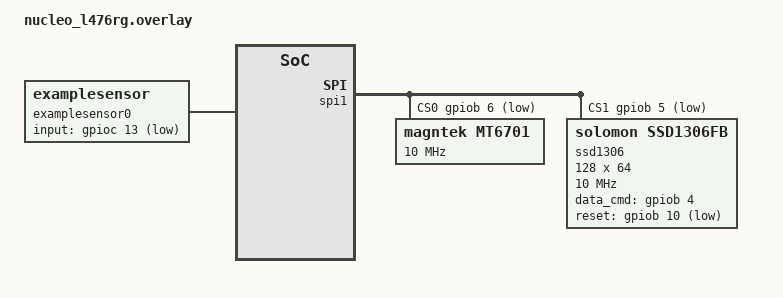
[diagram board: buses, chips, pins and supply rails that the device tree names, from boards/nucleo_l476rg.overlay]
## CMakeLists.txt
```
#-------------------------------------------------------------------------------
# Zephyr Example Application
#
# Copyright (c) 2021 Nordic Semiconductor ASA
# SPDX-License-Identifier: Apache-2.0

cmake_minimum_required(VERSION 3.13.1)
find_package(Zephyr REQUIRED HINTS $ENV{ZEPHYR_BASE})

project(app LANGUAGES C)

target_sources(app PRIVATE src/main.c)
target_sources(app PRIVATE src/encoder.c)
target_sources(app PRIVATE src/display.c)
```

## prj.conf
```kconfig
# Copyright (c) 2021 Nordic Semiconductor ASA
# SPDX-License-Identifier: Apache-2.0
#
# This file contains selected Kconfig options for the application.

CONFIG_HEAP_MEM_POOL_SIZE=4096
CONFIG_SENSOR=y
CONFIG_DISPLAY=y
CONFIG_INPUT=y
CONFIG_GPIO=y
CONFIG_SPI=y
CONFIG_SPI_STM32=y
CONFIG_SPI_STM32_USE_HW_SS=n
CONFIG_MT6701=y
CONFIG_SSD1306=y
CONFIG_SSD1306_DEFAULT_CONTRAST=128
CONFIG_CHARACTER_FRAMEBUFFER=y
CONFIG_LOG=y
```

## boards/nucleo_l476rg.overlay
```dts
&gpioc {
  status = "okay";
};

&spi1 {
  status = "okay";
  cs-gpios = <&gpiob 6 GPIO_ACTIVE_LOW>, <&gpiob 5 GPIO_ACTIVE_LOW>;
  mt6701: mt6701@0 {
    status = "okay";
    compatible = "magntek,mt6701";
    reg = <0>;
    spi-max-frequency = <10000000>;
  };
  ssd1306: ssd1306@1 {
    compatible = "solomon,ssd1306fb";
    reg = <0x1>;
    spi-max-frequency = <10000000>;
    width = <128>;
    height = <64>;
    segment-offset = <0>;
    page-offset = <0>;
    display-offset = <0>;
    multiplex-ratio = <63>;
    segment-remap;
    com-invdir;
    data_cmd-gpios = <&gpiob 4 0>;
    reset-gpios = <&gpiob 10 GPIO_ACTIVE_LOW>;
    prechargep = <0x22>;
  };
};

/ {
  examplesensor0: examplesensor_0 {
    compatible = "zephyr,examplesensor";
    input-gpios = <&gpioc 13 (GPIO_PULL_UP | GPIO_ACTIVE_LOW)>;
  };
};
```

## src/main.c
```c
/*
 * Copyright (c) 2021 Nordic Semiconductor ASA
 * SPDX-License-Identifier: Apache-2.0
 */

#include <zephyr/kernel.h>
#include <app_version.h>

#include <zephyr/logging/log.h>
LOG_MODULE_REGISTER(main, CONFIG_APP_LOG_LEVEL);

int main(void)
{
	printk("Zephyr Example Application %s\n", APP_VERSION_STRING);
	return 0;
}
```

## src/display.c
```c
#include "zephyr/device.h"
#include <zephyr/drivers/display.h>
#include <zephyr/display/cfb.h>
#include <zephyr/input/input.h>
#include <zephyr/dt-bindings/input/input-event-codes.h>

#include <zephyr/logging/log.h>
LOG_MODULE_REGISTER(disp, CONFIG_APP_LOG_LEVEL);

static const struct device *display = DEVICE_DT_GET(DT_NODELABEL(ssd1306));

static void write_display(int val) {
  int ret;
  char buffer[15];
  snprintf(buffer, sizeof(buffer), "%03u degrees", val);
  ret = cfb_print(display, buffer, 0, 0);
  if (ret != 0) {
    LOG_ERR("failed to print %d", ret);
  }
  ret = cfb_framebuffer_finalize(display);
  if (ret != 0) {
    LOG_ERR("failed to finalize %d", ret);
  }
}

static void input_cb(struct input_event *evt) {
  if (evt->code == INPUT_ABS_Z) {
    write_display(evt->value);
  }
}

int display_init() {
  int ret;
  if (!device_is_ready(display)) {
    LOG_ERR("device not ready");
  }
  ret = cfb_framebuffer_init(display);
  if (ret != 0) {
    LOG_ERR("failed to init %d", ret);
    return ret;
  }
  ret = cfb_framebuffer_invert(display);
  if (ret != 0) {
    LOG_ERR("failed to invert %d", ret);
    return ret;
  }
  return 0;
}

INPUT_CALLBACK_DEFINE(NULL, input_cb);

SYS_INIT(display_init, APPLICATION, CONFIG_APPLICATION_INIT_PRIORITY);
```

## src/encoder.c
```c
#include <zephyr/device.h>
#include <zephyr/init.h>
#include <zephyr/kernel.h>
#include <zephyr/input/input.h>
#include <zephyr/dt-bindings/input/input-event-codes.h>
#include <zephyr/drivers/sensor.h>

#include <zephyr/logging/log.h>
LOG_MODULE_REGISTER(encoder, CONFIG_SENSOR_LOG_LEVEL);

#define ENCODER_POLLING_INTERVAL_MS 20

static uint32_t rotation_int = 0;
static uint32_t rotation_frac = 0;

const struct device *encoder = DEVICE_DT_GET(DT_NODELABEL(mt6701));

void encoder_work_handler(struct k_work *work) {
  int ret;
  struct sensor_value val;

  ret = sensor_sample_fetch(encoder);
  if (ret < 0) {
    LOG_ERR("Could not fetch sample (%d)", ret);
  }

  ret = sensor_channel_get(encoder, SENSOR_CHAN_ROTATION, &val);
  if (ret < 0) {
    LOG_ERR("Could not get sample (%d)", ret);
  }

  rotation_int = val.val1;
  rotation_frac = val.val2;

  // LOG_INF("Rotation value: %d.%06d", rotation_int, rotation_frac);

  input_report_abs(encoder, INPUT_ABS_Z, rotation_int, true, K_FOREVER);
}

K_WORK_DEFINE(encoder_work, encoder_work_handler);

void encoder_expiry_function() {
  k_work_submit(&encoder_work);
}

K_TIMER_DEFINE(encoder_timer, encoder_expiry_function, NULL);

int encoder_init() {
  k_timer_start(&encoder_timer,
                K_MSEC(ENCODER_POLLING_INTERVAL_MS),
                K_MSEC(ENCODER_POLLING_INTERVAL_MS));
  return 0;
}

SYS_INIT(encoder_init, APPLICATION, CONFIG_APPLICATION_INIT_PRIORITY);
```
